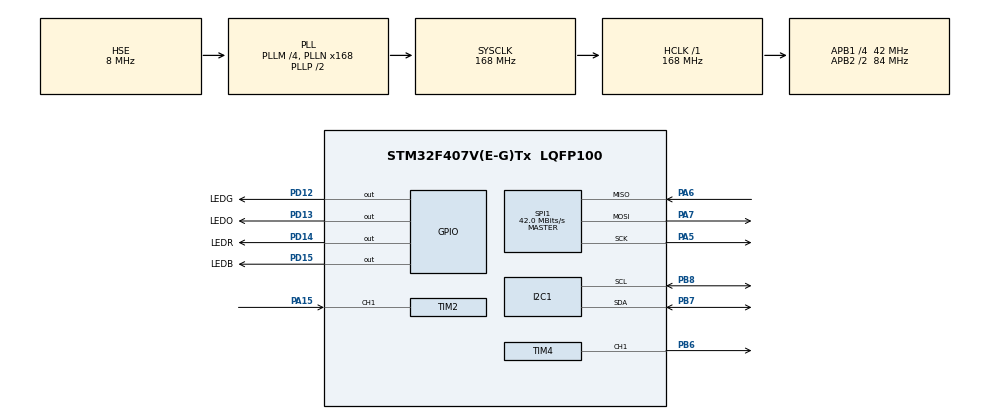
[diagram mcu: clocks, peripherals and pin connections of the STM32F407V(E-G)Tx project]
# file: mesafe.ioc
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I2C1.I2C_Mode=I2C_Fast
Mcu.Family=STM32F4
Mcu.Name=STM32F407V(E-G)Tx
Mcu.Package=LQFP100
NVIC.PriorityGroup=NVIC_PRIORITYGROUP_4
NVIC.TIM4_IRQn=true\:0\:0\:false\:false\:true\:true\:true\:true
NVIC.TIM7_IRQn=true\:0\:0\:false\:false\:true\:true\:true\:true
PA13.Mode=Serial_Wire
PA13.Signal=SYS_JTMS-SWDIO
PA14.Mode=Serial_Wire
PA14.Signal=SYS_JTCK-SWCLK
PA15.Signal=S_TIM2_CH1_ETR
PA5.Mode=Full_Duplex_Master
PA5.Signal=SPI1_SCK
PA6.Mode=Full_Duplex_Master
PA6.Signal=SPI1_MISO
PA7.Mode=Full_Duplex_Master
PA7.Signal=SPI1_MOSI
PB6.Signal=S_TIM4_CH1
PB7.Mode=I2C
PB7.Signal=I2C1_SDA
PB8.Mode=I2C
PB8.Signal=I2C1_SCL
PD12.GPIO_Label=LEDG
PD12.Signal=GPIO_Output
PD13.GPIO_Label=LEDO
PD13.Signal=GPIO_Output
PD14.GPIO_Label=LEDR
PD14.Signal=GPIO_Output
PD15.GPIO_Label=LEDB
PD15.Signal=GPIO_Output
PH0-OSC_IN.Mode=HSE-External-Oscillator
PH0-OSC_IN.Signal=RCC_OSC_IN
PH1-OSC_OUT.Mode=HSE-External-Oscillator
PH1-OSC_OUT.Signal=RCC_OSC_OUT
ProjectManager.HeapSize=0x200
ProjectManager.StackSize=0x400
ProjectManager.TargetToolchain=STM32CubeIDE
RCC.48MHZClocksFreq_Value=84000000
RCC.AHBFreq_Value=168000000
RCC.APB1CLKDivider=RCC_HCLK_DIV4
RCC.APB1Freq_Value=42000000
RCC.APB1TimFreq_Value=84000000
RCC.APB2CLKDivider=RCC_HCLK_DIV2
RCC.APB2Freq_Value=84000000
RCC.APB2TimFreq_Value=168000000
RCC.CortexFreq_Value=168000000
RCC.HCLKFreq_Value=168000000
RCC.HSE_VALUE=8000000
RCC.HSI_VALUE=16000000
RCC.LSE_VALUE=32768
RCC.PLLM=4
RCC.PLLN=168
RCC.PLLSourceVirtual=RCC_PLLSOURCE_HSE
RCC.SYSCLKFreq_VALUE=168000000
RCC.SYSCLKSource=RCC_SYSCLKSOURCE_PLLCLK
RCC.VCOOutputFreq_Value=336000000
SH.S_TIM2_CH1_ETR.0=TIM2_CH1,Input_Capture1_from_TI1
SH.S_TIM2_CH1_ETR.1=TIM2_CH1,TriggerSource_TI1FP1
SH.S_TIM4_CH1.0=TIM4_CH1,PWM Generation1 CH1
SPI1.CalculateBaudRate=42.0 MBits/s
SPI1.Direction=SPI_DIRECTION_2LINES
SPI1.Mode=SPI_MODE_MASTER
SPI1.VirtualType=VM_MASTER
TIM2.Channel-Input_Capture1_from_TI1=TIM_CHANNEL_1
TIM2.Channel-Input_Capture2_from_TI1_63=TIM_CHANNEL_2
TIM2.ICPolarity_CH2=TIM_INPUTCHANNELPOLARITY_FALLING
TIM2.Prescaler=83
TIM4.Channel-PWM\ Generation1\ CH1=TIM_CHANNEL_1
TIM4.Period=50000
TIM4.Prescaler=419
TIM4.Pulse-PWM\ Generation1\ CH1=2
TIM7.Period=1000
TIM7.Prescaler=8399
VP_TIM2_VS_ControllerModeReset.Mode=Reset Mode
VP_TIM2_VS_indirect_ch1.Mode=Input_Capture2_from_TI1_63
VP_TIM7_VS_ClockSourceINT.Mode=Enable_Timer
board=custom

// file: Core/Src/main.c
/* USER CODE BEGIN Header */
/**
  **************************
  * @file           : main.c
  * @brief          : Main program body
  **************************
  * @attention
  *
  * Copyright (c) 2024 STMicroelectronics.
  * All rights reserved.
  *
  * This software is licensed under terms that can be found in the LICENSE file
  * in the root directory of this software component.
  * If no LICENSE file comes with this software, it is provided AS-IS.
  *
  **************************
  */
/* USER CODE END Header */
#include "main.h"

/* USER CODE BEGIN Includes */
#include <stdio.h>
#include <stdlib.h>
#include <stdarg.h>
#include "IO_SSD1306.h"
#include <math.h>
/* USER CODE END Includes */

I2C_HandleTypeDef hi2c1;

SPI_HandleTypeDef hspi1;

TIM_HandleTypeDef htim2;
TIM_HandleTypeDef htim4;
TIM_HandleTypeDef htim7;

/* USER CODE BEGIN PV */
OLED* oled = &(OLED){0};
uint32_t ch1_rising, ch2_falling;
float pwm_freq, pwm_duty, distance;

/* USER CODE END PV */

void SystemClock_Config(void);
static void MX_GPIO_Init(void);
static void MX_I2C1_Init(void);
static void MX_SPI1_Init(void);
static void MX_TIM2_Init(void);
static void MX_TIM4_Init(void);
static void MX_TIM7_Init(void);

/* USER CODE BEGIN 0 */
int _write(int32_t file, uint8_t *ptr, int32_t len)
{
 int i=0;
 for(i=0 ; i<len ; i++)
  ITM_SendChar((*ptr++));
 return len;
}
// Prints on console and LED display
void PrintMessage(OLED* oled, bool bSWVPrint, const char* msgFmt, ...)
{
 va_list varg;
 char message[100];
 va_start(varg, msgFmt);
 vsniprintf(message, 100, msgFmt, varg);
 va_end(varg);
 if(bSWVPrint)
  printf("%s", message);
 printText(oled, message);
}
void UpdateScreen_IRQHandler (void)
{
 clearDisplay(oled);
 setCursor(oled, 0, 0);
 PrintMessage(oled, false, ">%3.0f", "Ds", distance);
 display(oled);
}
void Distance_IRQHandler(){
 HAL_GPIO_TogglePin(LEDO_GPIO_Port, LEDO_Pin);
 ch1_rising = HAL_TIM_ReadCapturedValue(&htim2, TIM_CHANNEL_1);
 ch2_falling = HAL_TIM_ReadCapturedValue(&htim2, TIM_CHANNEL_2) + 1;
 pwm_freq = (84000000.0f/ch1_rising)/(TIM2->PSC+1);
 pwm_duty = (ch2_falling*100.f)/ch1_rising;
 distance = ch2_falling / 58.0f;
}
void DrawTurkishFlagAndD(OLED* oled) {
    clearDisplay(oled);  // Ekranı temizle

    // Yarımay Çizimi
    fillCircle(oled, 40, 32, 20, SSD1306_WHITE);  // Büyük daire
    fillCircle(oled, 50, 32, 15, SSD1306_BLACK);  // Küçük daire (iç boşluk)

    // Yıldız Çizimi
    int centerX = 64, centerY = 32;  // Yıldızın merkezi
    int radiusOuter = 16;            // Dış köşelerin yarıçapı
    int radiusInner = 8;             // İç köşelerin yarıçapı

    // Yıldızın köşe koordinatlarını hesapla
    int pointsX[10], pointsY[10];  // 5 dış, 5 iç köşe
    for (int i = 0; i < 10; i++) {
        double angle = (M_PI / 5) * i - M_PI / 2;  // Köşe açıları
        int radius = (i % 2 == 0) ? radiusOuter : radiusInner;  // Dış ve iç yarıçaplar
        pointsX[i] = centerX + radius * cos(angle);
        pointsY[i] = centerY + radius * sin(angle);
    }

    // Yıldızın içini doldurmak için birleştir
    for (int i = 1; i < 9; i++) {
        fillTriangle(oled,
                     centerX, centerY,         // Yıldızın merkezi
                     pointsX[i], pointsY[i],   // Şu anki köşe
                     pointsX[i + 1], pointsY[i + 1], // Sonraki köşe
                     SSD1306_WHITE);
    }

    // Son üçgeni bağla
    fillTriangle(oled,
                 centerX, centerY,
                 pointsX[9], pointsY[9],
                 pointsX[0], pointsY[0],
                 SSD1306_WHITE);

    // "D" Harfi Yazdırma
    setCursor(oled, 90,25);      // Yazı koordinatları
    setTextSize(oled,4);         // Yazı boyutu
    printText(oled, "D");         // Harfi yazdır

    display(oled);  // Ekranı güncelle
    void TriggerUltrasonic() {
        HAL_GPIO_WritePin(GPIOA, GPIO_PIN_1, GPIO_PIN_SET);  // Trig pin HIGH
        HAL_Delay(0.01);                                     // 10µs bekle
        HAL_GPIO_WritePin(GPIOA, GPIO_PIN_1, GPIO_PIN_RESET); // Trig pin LOW
    }

}

while (1)
{
    // Türk bayrağını çizme fonksiyonu (mevcut fonksiyon)
    DrawTurkishFlagAndD(oled);

    // Mesafe bilgisini bar olarak göster
    DrawDistanceBar(oled, distance);

    // Gerekirse ek bir gecikme
    HAL_Delay(100);
}

/* USER CODE BEGIN 0 */

// Mevcut özel fonksiyonlarınız burada

void DrawDistanceBar(OLED* oled, float distance) {
    const int barX = 120;
    const int barY = 0;
    const int barWidth = 8;
    const int barHeight = 64;
    const float minDistance = 5.0f;
    const float maxDistance = 100.0f;

    float normalizedDistance = (distance - minDistance) / (maxDistance - minDistance);
    if (normalizedDistance > 1.0f) normalizedDistance = 1.0f;
    if (normalizedDistance < 0.0f) normalizedDistance = 0.0f;

    int filledHeight = (int)(barHeight * (1.0f - normalizedDistance));

    clearDisplay(oled);
    drawRect(oled, barX, barY, barWidth, barHeight, SSD1306_WHITE);
    fillRect(oled, barX, barY + barHeight - filledHeight, barWidth, filledHeight, SSD1306_WHITE);

    setCursor(oled, 0, 0);
    setTextSize(oled, 1);
    PrintMessage(oled, false, \"Mesafe: %.1f cm\", distance);
    display(oled);
}

/* USER CODE END 0 */

int main(void)
{

  /* MCU Configuration--------------------------------------------------------*/

  /* Reset of all peripherals, Initializes the Flash interface and the Systick. */
  HAL_Init();

  /* Configure the system clock */
  SystemClock_Config();

  /* Initialize all configured peripherals */
  MX_GPIO_Init();
  MX_I2C1_Init();
  MX_SPI1_Init();
  MX_TIM2_Init();
  MX_TIM4_Init();
  MX_TIM7_Init();
  /* USER CODE BEGIN 2 */
  OLED_Construct(oled, CHIP_SSD1306, 0, 128, 64);
  while(HAL_I2C_IsDeviceReady(&hi2c1, oled->i2caddr, 1, 10) != HAL_OK)
  {
  HAL_GPIO_TogglePin(LEDG_GPIO_Port, LEDG_Pin);
  HAL_Delay(1000);
  }
  printf("Start Screen\n");
  OLED_Init(oled, SSD1306_SWITCHCAPVCC, &hi2c1, NULL);
  HAL_GPIO_WritePin(LEDG_GPIO_Port, LEDG_Pin, GPIO_PIN_RESET);
  setCursor(oled, 0, 0);
  clearDisplay(oled);
  printf("Start ultra-sonic Sensor\n");
  HAL_TIM_IC_Start(&htim2, TIM_CHANNEL_1);
  HAL_TIM_IC_Start(&htim2, TIM_CHANNEL_2);
  HAL_TIM_PWM_Start_IT(&htim4, TIM_CHANNEL_1);
  printf("Start Screen Updater\n");
  HAL_TIM_Base_Start_IT(&htim7);

  // OLED ekranı başlat
  OLED_Construct(oled, CHIP_SSD1306, 0, 128, 64);
  while (HAL_I2C_IsDeviceReady(&hi2c1, oled->i2caddr, 1, 10) != HAL_OK)
  {
      HAL_GPIO_TogglePin(LEDG_GPIO_Port, LEDG_Pin);
      HAL_Delay(1000);
  }
  printf("Start Screen\n");
  OLED_Init(oled, SSD1306_SWITCHCAPVCC, &hi2c1, NULL);
  HAL_GPIO_WritePin(LEDG_GPIO_Port, LEDG_Pin, GPIO_PIN_RESET);
  setCursor(oled, 0, 0);
  clearDisplay(oled);
  /* USER CODE BEGIN 2 */
  OLED_Construct(oled, CHIP_SSD1306, 0, 128, 64);
  while (HAL_I2C_IsDeviceReady(&hi2c1, oled->i2caddr, 1, 10) != HAL_OK)
  {
      HAL_GPIO_TogglePin(LEDG_GPIO_Port, LEDG_Pin);
      HAL_Delay(1000);
  }
  printf("Start Screen\n");
  OLED_Init(oled, SSD1306_SWITCHCAPVCC, &hi2c1, NULL);
  HAL_GPIO_WritePin(LEDG_GPIO_Port, LEDG_Pin, GPIO_PIN_RESET);
  setCursor(oled, 0, 0);
  clearDisplay(oled);

  while (1) {
	  TriggerUltrasonic(distance);
      HAL_Delay(100);       // 100 ms bekle
      DrawTurkishFlagAndD(oled);  // Mesafe barını ve görünümü OLED'de göster
  }

  /* USER CODE END 2 */

  /* Infinite loop */
  while (1)
  {

  }
}

void SystemClock_Config(void)
{
  RCC_OscInitTypeDef RCC_OscInitStruct = {0};
  RCC_ClkInitTypeDef RCC_ClkInitStruct = {0};

  /** Configure the main internal regulator output voltage
  */
  __HAL_RCC_PWR_CLK_ENABLE();
  __HAL_PWR_VOLTAGESCALING_CONFIG(PWR_REGULATOR_VOLTAGE_SCALE1);

  /** Initializes the RCC Oscillators according to the specified parameters
  * in the RCC_OscInitTypeDef structure.
  */
  RCC_OscInitStruct.OscillatorType = RCC_OSCILLATORTYPE_HSE;
  RCC_OscInitStruct.HSEState = RCC_HSE_ON;
  RCC_OscInitStruct.PLL.PLLState = RCC_PLL_ON;
  RCC_OscInitStruct.PLL.PLLSource = RCC_PLLSOURCE_HSE;
  RCC_OscInitStruct.PLL.PLLM = 4;
  RCC_OscInitStruct.PLL.PLLN = 168;
  RCC_OscInitStruct.PLL.PLLP = RCC_PLLP_DIV2;
  RCC_OscInitStruct.PLL.PLLQ = 4;
  if (HAL_RCC_OscConfig(&RCC_OscInitStruct) != HAL_OK)
  {
    Error_Handler();
  }

  /** Initializes the CPU, AHB and APB buses clocks
  */
  RCC_ClkInitStruct.ClockType = RCC_CLOCKTYPE_HCLK|RCC_CLOCKTYPE_SYSCLK
                              |RCC_CLOCKTYPE_PCLK1|RCC_CLOCKTYPE_PCLK2;
  RCC_ClkInitStruct.SYSCLKSource = RCC_SYSCLKSOURCE_PLLCLK;
  RCC_ClkInitStruct.AHBCLKDivider = RCC_SYSCLK_DIV1;
  RCC_ClkInitStruct.APB1CLKDivider = RCC_HCLK_DIV4;
  RCC_ClkInitStruct.APB2CLKDivider = RCC_HCLK_DIV2;

  if (HAL_RCC_ClockConfig(&RCC_ClkInitStruct, FLASH_LATENCY_5) != HAL_OK)
  {
    Error_Handler();
  }
}

static void MX_I2C1_Init(void)
{

  hi2c1.Instance = I2C1;
  hi2c1.Init.ClockSpeed = 400000;
  hi2c1.Init.DutyCycle = I2C_DUTYCYCLE_2;
  hi2c1.Init.OwnAddress1 = 0;
  hi2c1.Init.AddressingMode = I2C_ADDRESSINGMODE_7BIT;
  hi2c1.Init.DualAddressMode = I2C_DUALADDRESS_DISABLE;
  hi2c1.Init.OwnAddress2 = 0;
  hi2c1.Init.GeneralCallMode = I2C_GENERALCALL_DISABLE;
  hi2c1.Init.NoStretchMode = I2C_NOSTRETCH_DISABLE;
  if (HAL_I2C_Init(&hi2c1) != HAL_OK)
  {
    Error_Handler();
  }

}

static void MX_SPI1_Init(void)
{

  /* SPI1 parameter configuration*/
  hspi1.Instance = SPI1;
  hspi1.Init.Mode = SPI_MODE_MASTER;
  hspi1.Init.Direction = SPI_DIRECTION_2LINES;
  hspi1.Init.DataSize = SPI_DATASIZE_8BIT;
  hspi1.Init.CLKPolarity = SPI_POLARITY_LOW;
  hspi1.Init.CLKPhase = SPI_PHASE_1EDGE;
  hspi1.Init.NSS = SPI_NSS_SOFT;
  hspi1.Init.BaudRatePrescaler = SPI_BAUDRATEPRESCALER_2;
  hspi1.Init.FirstBit = SPI_FIRSTBIT_MSB;
  hspi1.Init.TIMode = SPI_TIMODE_DISABLE;
  hspi1.Init.CRCCalculation = SPI_CRCCALCULATION_DISABLE;
  hspi1.Init.CRCPolynomial = 10;
  if (HAL_SPI_Init(&hspi1) != HAL_OK)
  {
    Error_Handler();
  }

}

static void MX_TIM2_Init(void)
{

  TIM_SlaveConfigTypeDef sSlaveConfig = {0};
  TIM_MasterConfigTypeDef sMasterConfig = {0};
  TIM_IC_InitTypeDef sConfigIC = {0};

  htim2.Instance = TIM2;
  htim2.Init.Prescaler = 83;
  htim2.Init.CounterMode = TIM_COUNTERMODE_UP;
  htim2.Init.Period = 4294967295;
  htim2.Init.ClockDivision = TIM_CLOCKDIVISION_DIV1;
  htim2.Init.AutoReloadPreload = TIM_AUTORELOAD_PRELOAD_DISABLE;
  if (HAL_TIM_Base_Init(&htim2) != HAL_OK)
  {
    Error_Handler();
  }
  if (HAL_TIM_IC_Init(&htim2) != HAL_OK)
  {
    Error_Handler();
  }
  sSlaveConfig.SlaveMode = TIM_SLAVEMODE_RESET;
  sSlaveConfig.InputTrigger = TIM_TS_TI1FP1;
  sSlaveConfig.TriggerPolarity = TIM_INPUTCHANNELPOLARITY_RISING;
  sSlaveConfig.TriggerFilter = 0;
  if (HAL_TIM_SlaveConfigSynchro(&htim2, &sSlaveConfig) != HAL_OK)
  {
    Error_Handler();
  }
  sMasterConfig.MasterOutputTrigger = TIM_TRGO_RESET;
  sMasterConfig.MasterSlaveMode = TIM_MASTERSLAVEMODE_DISABLE;
  if (HAL_TIMEx_MasterConfigSynchronization(&htim2, &sMasterConfig) != HAL_OK)
  {
    Error_Handler();
  }
  sConfigIC.ICPolarity = TIM_INPUTCHANNELPOLARITY_RISING;
  sConfigIC.ICSelection = TIM_ICSELECTION_DIRECTTI;
  sConfigIC.ICPrescaler = TIM_ICPSC_DIV1;
  sConfigIC.ICFilter = 0;
  if (HAL_TIM_IC_ConfigChannel(&htim2, &sConfigIC, TIM_CHANNEL_1) != HAL_OK)
  {
    Error_Handler();
  }
  sConfigIC.ICPolarity = TIM_INPUTCHANNELPOLARITY_FALLING;
  sConfigIC.ICSelection = TIM_ICSELECTION_INDIRECTTI;
  if (HAL_TIM_IC_ConfigChannel(&htim2, &sConfigIC, TIM_CHANNEL_2) != HAL_OK)
  {
    Error_Handler();
  }

}

static void MX_TIM4_Init(void)
{

  TIM_MasterConfigTypeDef sMasterConfig = {0};
  TIM_OC_InitTypeDef sConfigOC = {0};

  htim4.Instance = TIM4;
  htim4.Init.Prescaler = 419;
  htim4.Init.CounterMode = TIM_COUNTERMODE_UP;
  htim4.Init.Period = 50000;
  htim4.Init.ClockDivision = TIM_CLOCKDIVISION_DIV1;
  htim4.Init.AutoReloadPreload = TIM_AUTORELOAD_PRELOAD_DISABLE;
  if (HAL_TIM_PWM_Init(&htim4) != HAL_OK)
  {
    Error_Handler();
  }
  sMasterConfig.MasterOutputTrigger = TIM_TRGO_RESET;
  sMasterConfig.MasterSlaveMode = TIM_MASTERSLAVEMODE_DISABLE;
  if (HAL_TIMEx_MasterConfigSynchronization(&htim4, &sMasterConfig) != HAL_OK)
  {
    Error_Handler();
  }
  sConfigOC.OCMode = TIM_OCMODE_PWM1;
  sConfigOC.Pulse = 2;
  sConfigOC.OCPolarity = TIM_OCPOLARITY_HIGH;
  sConfigOC.OCFastMode = TIM_OCFAST_DISABLE;
  if (HAL_TIM_PWM_ConfigChannel(&htim4, &sConfigOC, TIM_CHANNEL_1) != HAL_OK)
  {
    Error_Handler();
  }
  HAL_TIM_MspPostInit(&htim4);

}

static void MX_TIM7_Init(void)
{

  TIM_MasterConfigTypeDef sMasterConfig = {0};

  htim7.Instance = TIM7;
  htim7.Init.Prescaler = 8399;
  htim7.Init.CounterMode = TIM_COUNTERMODE_UP;
  htim7.Init.Period = 1000;
  htim7.Init.AutoReloadPreload = TIM_AUTORELOAD_PRELOAD_DISABLE;
  if (HAL_TIM_Base_Init(&htim7) != HAL_OK)
  {
    Error_Handler();
  }
  sMasterConfig.MasterOutputTrigger = TIM_TRGO_RESET;
  sMasterConfig.MasterSlaveMode = TIM_MASTERSLAVEMODE_DISABLE;
  if (HAL_TIMEx_MasterConfigSynchronization(&htim7, &sMasterConfig) != HAL_OK)
  {
    Error_Handler();
  }

}

static void MX_GPIO_Init(void)
{
  GPIO_InitTypeDef GPIO_InitStruct = {0};

  /* GPIO Ports Clock Enable */
  __HAL_RCC_GPIOH_CLK_ENABLE();
  __HAL_RCC_GPIOA_CLK_ENABLE();
  __HAL_RCC_GPIOD_CLK_ENABLE();
  __HAL_RCC_GPIOB_CLK_ENABLE();

  /*Configure GPIO pin Output Level */
  HAL_GPIO_WritePin(GPIOD, LEDG_Pin|LEDO_Pin|LEDR_Pin|LEDB_Pin, GPIO_PIN_RESET);

  /*Configure GPIO pins : LEDG_Pin LEDO_Pin LEDR_Pin LEDB_Pin */
  GPIO_InitStruct.Pin = LEDG_Pin|LEDO_Pin|LEDR_Pin|LEDB_Pin;
  GPIO_InitStruct.Mode = GPIO_MODE_OUTPUT_PP;
  GPIO_InitStruct.Pull = GPIO_NOPULL;
  GPIO_InitStruct.Speed = GPIO_SPEED_FREQ_LOW;
  HAL_GPIO_Init(GPIOD, &GPIO_InitStruct);

}

void Error_Handler(void)
{
  __disable_irq();
  while (1)
  {
  }
}
